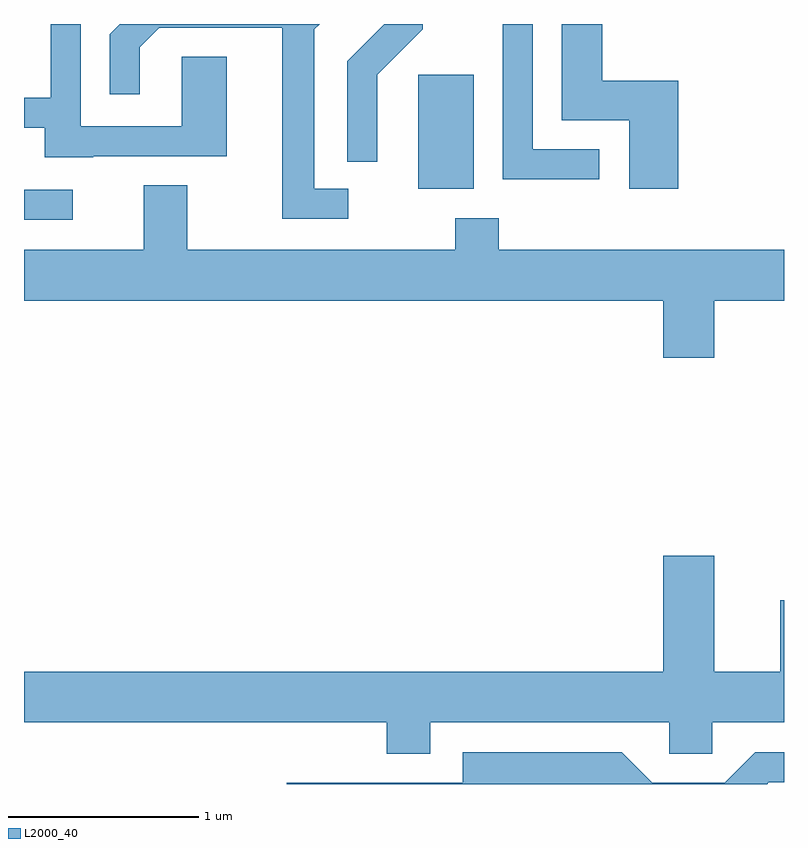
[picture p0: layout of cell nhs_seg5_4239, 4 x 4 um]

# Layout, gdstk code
import gdstk
lib = gdstk.Library(unit=1e-6, precision=1e-09)
def R(c, l, rs):  # rectangles x0, y0, x1, y1
    for r in rs: c.add(gdstk.rectangle(r[:2], r[2:], *l))
def P(c, l, *ps):  # polygons
    for p in ps: c.add(gdstk.Polygon(p, *l))
L2000_40 = (2000, 40)

nhs_seg5_4239 = lib.new_cell('nhs_seg5_4239')
R(nhs_seg5_4239, L2000_40, [(311.611,1415.041,311.868,1415.199), (313.686,1415.206,313.979,1415.804)])
P(nhs_seg5_4239, L2000_40, [(313.469,1415.804),(313.709,1416.044),(313.709,1416.072),(313.506,1416.072),(313.311,1415.877),(313.311,1415.348),(313.469,1415.348)],
  [(314.638,1415.414),(314.289,1415.414),(314.289,1416.072),(314.131,1416.072),(314.131,1415.256),(314.638,1415.256)],
  [(311.975,1415.376),(312.679,1415.376),(312.679,1415.899),(312.441,1415.899),(312.441,1415.534),(311.909,1415.534),(311.909,1416.072),(311.751,1416.072),(311.751,1415.684),(311.611,1415.684),(311.611,1415.526),(311.721,1415.526),(311.721,1415.371),(311.975,1415.371)],
  [(313.318,1415.204),(313.139,1415.204),(313.139,1416.044),(313.167,1416.072),(312.116,1416.072),(312.061,1416.017),(312.061,1415.703),(312.219,1415.703),(312.219,1415.949),(312.322,1416.051),(312.971,1416.051),(312.971,1415.046),(313.318,1415.046)],
  [(315.054,1415.774),(314.654,1415.774),(314.654,1416.072),(314.441,1416.072),(314.441,1415.566),(314.796,1415.566),(314.796,1415.206),(315.054,1415.206)],
  [(315.244,1414.616),(315.611,1414.616),(315.611,1414.884),(314.109,1414.884),(314.109,1415.049),(313.881,1415.049),(313.881,1414.884),(312.469,1414.884),(312.469,1415.224),(312.241,1415.224),(312.241,1414.884),(311.611,1414.884),(311.611,1414.616),(314.976,1414.616),(314.976,1414.316),(315.244,1414.316)],
  [(313.749,1412.396),(315.006,1412.396),(315.006,1412.231),(315.234,1412.231),(315.234,1412.396),(315.611,1412.396),(315.611,1413.039),(315.591,1413.039),(315.591,1412.664),(315.244,1412.664),(315.244,1413.274),(314.976,1413.274),(314.976,1412.664),(311.611,1412.664),(311.611,1412.396),(313.521,1412.396),(313.521,1412.231),(313.749,1412.231)],
  [(315.532,1412.081),(315.611,1412.081),(315.611,1412.239),(315.459,1412.239),(315.299,1412.079),(314.917,1412.079),(314.757,1412.239),(313.921,1412.239),(313.921,1412.079),(312.993,1412.079),(312.993,1412.072),(315.523,1412.072)])

lib.write_gds('nhs_seg5_4239.gds')
